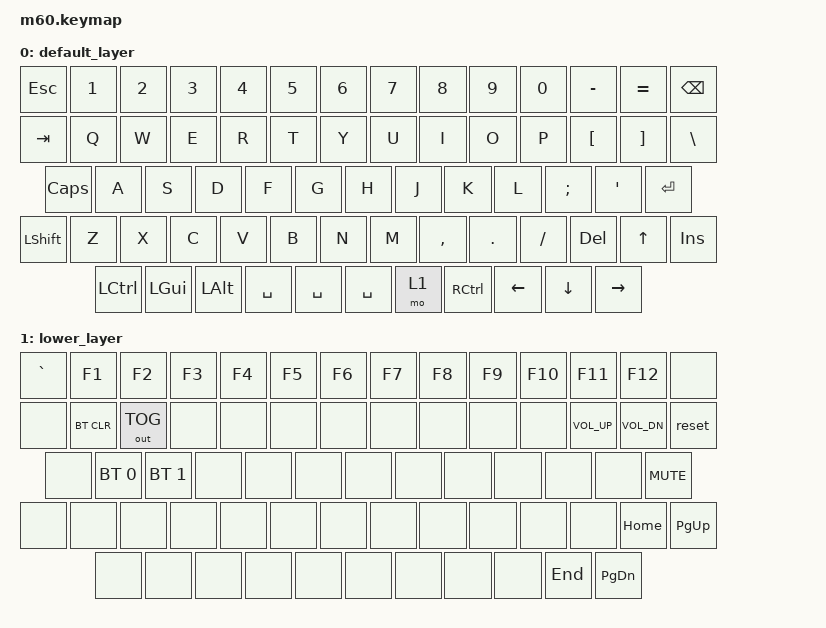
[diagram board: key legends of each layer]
/*
 * Copyright (c) 2020 The ZMK Contributors
 *
 * SPDX-License-Identifier: MIT
 */

#include <behaviors.dtsi>
#include <dt-bindings/zmk/keys.h>
#include <dt-bindings/zmk/bt.h>
#include <dt-bindings/zmk/outputs.h>
/ {
	keymap {
		compatible = "zmk,keymap";

		default_layer {
			bindings = <
	&kp ESC &kp N1 &kp N2 &kp N3 &kp N4 &kp N5 &kp N6 &kp N7 &kp N8  &kp N9 &kp N0  &kp MINUS &kp EQUAL &kp BSPC
	&kp TAB  &kp Q  &kp W  &kp E  &kp R  &kp T  &kp Y  &kp U  &kp I   &kp O  &kp P  &kp LBKT &kp RBKT  &kp BSLH
	&kp CLCK  &kp A  &kp S  &kp D  &kp F  &kp G  &kp H  &kp J &kp K &kp L  &kp SEMI &kp SQT           &kp RET
	&kp LSHFT  &kp Z  &kp X  &kp C  &kp V  &kp B  &kp N  &kp M  &kp COMMA &kp DOT &kp FSLH     &kp DELETE &kp UP_ARROW &kp INSERT
	&kp LCTRL &kp LGUI &kp LALT          &kp SPACE &kp SPACE &kp SPACE                &mo  1  &kp  RCTRL &kp LEFT_ARROW &kp DOWN_ARROW &kp RIGHT_ARROW
			>;
		};

		lower_layer {
			bindings = <
&kp GRAVE  &kp F1     &kp F2     &kp F3     &kp F4     &kp F5     &kp F6     &kp F7     &kp F8     &kp F9     &kp F10    &kp F11    &kp F12    &none
&none         &bt BT_CLR &out OUT_TOG      &none      &none      &none      &none      &none      &none      &none      &none      &kp C_VOL_UP      &kp C_VOL_DN      &reset
&none           &bt BT_SEL 0 &bt BT_SEL 1 &none &none &none &none   &none   &none   &none   &none      &none      &kp C_MUTE
&none                &none      &none      &none      &none      &none      &none      &none      &none      &none      &none      &none  &kp HOME  &kp PG_UP
&none       &none       &none       &none &none &none                            &none     &none     &none     &kp END &kp PG_DN
			>;
		};
	};
};
